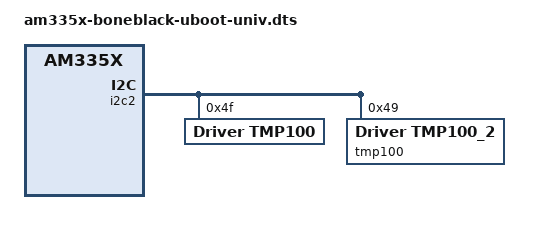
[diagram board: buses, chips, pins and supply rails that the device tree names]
/dts-v1/;
#include "am335x-boneblack-uboot-univ-old.dts"

&i2c2 {
	status = "okay";
	bus_freq = <100000>;
	
	tmp100@4f {
		model = "Driver TMP100";
		compatible = "Driver, TMP100";
		reg = <0x4f>;
	};
	
#if 0
	This address is random number which I selected just for the example
	but according to the datasheet it can vary from 0x48 - 0x4f depending
	on which one we select. We can select different address buy connecting
	the ADD1 and ADD0 pins to 1, 0 or leaving it float (unconnected) depending
	on how we want our sensor to be addressed.
#endif

	tmp100@49 {
		model = "Driver TMP100_2";
		compatible = "Driver, TMP100_2";
		reg = <0x49>;
	};
};



